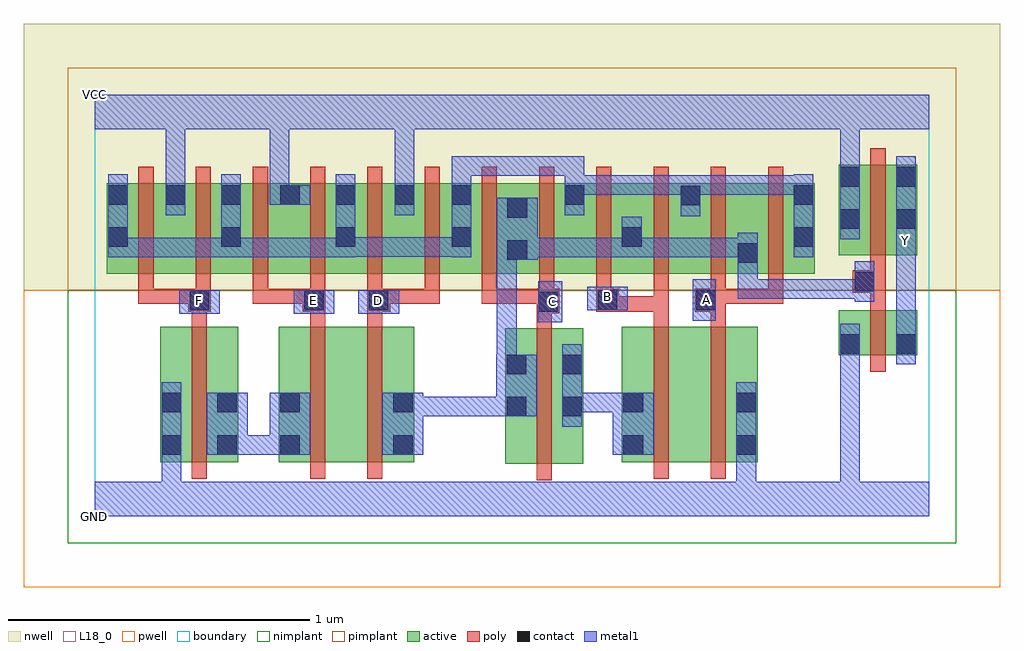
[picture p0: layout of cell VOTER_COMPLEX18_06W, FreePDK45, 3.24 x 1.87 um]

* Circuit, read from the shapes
.subckt VOTER_COMPLEX18_06W A B C D E F GND VCC Y
M1 n1 F GND VSUBS nfet w=0.45u l=0.05u
M2 n2 E n1 VSUBS nfet w=0.45u l=0.05u
M3 n3 D n2 VSUBS nfet w=0.45u l=0.05u
M4 n4 C n3 VSUBS nfet w=0.45u l=0.05u
M5 n5 B n4 VSUBS nfet w=0.45u l=0.05u
M6 GND A n5 VSUBS nfet w=0.45u l=0.05u
M7 Y n3 GND VSUBS nfet w=0.15u l=0.05u
M8 VCC F n6 n7 pfet w=0.3u l=0.05u m=2
M9 VCC E n6 n7 pfet w=0.3u l=0.05u m=2
M10 VCC D n6 n7 pfet w=0.3u l=0.05u m=2
M11 n3 C n6 n7 pfet w=0.3u l=0.05u m=2
M12 n3 B n6 n7 pfet w=0.3u l=0.05u m=2
M13 n3 A n6 n7 pfet w=0.3u l=0.05u m=2
M14 Y n3 VCC n7 pfet w=0.3u l=0.05u
.ends

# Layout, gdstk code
import gdstk
lib = gdstk.Library(unit=1e-6, precision=1e-09)
def R(c, l, rs):  # rectangles x0, y0, x1, y1
    for r in rs: c.add(gdstk.rectangle(r[:2], r[2:], *l))
def A(c, l, x, y, w, h, nx, ny, dx, dy):  # array of equal rectangles
    R(c, l, [(x+i*dx, y+j*dy, x+i*dx+w, y+j*dy+h) for i in range(nx) for j in range(ny)])
active = (1, 0)
pwell = (2, 0)
nwell = (3, 0)
nimplant = (4, 0)
pimplant = (5, 0)
poly = (9, 0)
contact = (10, 0)
metal1 = (11, 0)
L18_0 = (18, 0)
boundary = (235, 0)

voter_complex18_06w = lib.new_cell('VOTER_COMPLEX18_06W')
A(voter_complex18_06w, active, 0.23, 0.852, 0.075, 0.253, 3, 1, 0.38, 0)
R(voter_complex18_06w, active, [(1.362,0.175,1.622,0.625), (0.217,0.18,0.292,0.63), (0.217,0.18,0.477,0.63), (0.61,0.18,0.835,0.63), (0.835,0.18,1.06,0.63), (1.75,0.18,1.975,0.63), (1.975,0.18,2.2,0.63), (2.125,0.18,2.2,0.63), (0.402,0.2,0.477,0.63), (0.61,0.2,0.685,0.63), (0.985,0.2,1.06,0.63), (1.75,0.2,1.825,0.63), (1.362,0.245,1.437,0.625), (1.547,0.245,1.622,0.625), (2.47,0.535,2.545,0.685), (2.47,0.535,2.73,0.685), (2.655,0.535,2.73,0.685), (0.04,0.805,0.115,1.105), (0.04,0.805,0.305,1.105), (0.23,0.805,0.49,1.105), (0.415,0.805,0.49,1.105), (0.415,0.805,0.685,1.105), (0.61,0.805,0.87,1.105), (0.795,0.805,0.87,1.105), (0.795,0.805,1.065,1.105), (0.99,0.805,1.255,1.105), (1.18,0.805,1.44,1.105), (1.18,0.805,1.255,1.105), (1.365,0.805,1.63,1.105), (1.555,0.805,1.82,1.105), (1.745,0.805,2.015,1.105), (1.94,0.805,2.205,1.105), (2.13,0.805,2.39,1.105), (2.315,0.805,2.39,1.105), (2.13,0.837,2.205,1.07), (1.365,0.847,1.44,1.07), (1.555,0.852,1.63,1.105), (1.94,0.852,2.015,1.105), (2.47,0.867,2.73,1.167), (2.47,0.867,2.545,1.167), (2.655,0.867,2.73,1.165), (1.745,0.89,1.82,1.07)])
R(voter_complex18_06w, pwell, [(-0.235,-0.235,3.005,0.75)])
R(voter_complex18_06w, nwell, [(-0.235,0.75,3.005,1.635)])
R(voter_complex18_06w, nimplant, [(-0.09,-0.09,2.86,0.75)])
R(voter_complex18_06w, pimplant, [(-0.09,0.75,2.86,1.49)])
A(voter_complex18_06w, poly, 0.145, 0.705, 0.05, 0.095, 9, 1, 0.19, 0)
A(voter_complex18_06w, poly, 0.145, 0.75, 0.05, 0.41, 12, 1, 0.19, 0)
R(voter_complex18_06w, poly, [(1.467,0.12,1.517,0.68), (0.322,0.125,0.372,0.685), (0.715,0.125,0.765,0.685), (0.905,0.125,0.955,0.685), (1.855,0.125,1.905,0.685), (2.045,0.125,2.095,0.685), (2.575,0.48,2.625,0.74), (1.467,0.63,1.517,0.725), (0.322,0.635,0.372,0.73), (0.715,0.635,0.765,0.73), (0.905,0.635,0.955,0.73), (1.855,0.635,1.905,0.73), (2.045,0.635,2.095,0.73), (1.467,0.675,1.542,0.755), (0.31,0.68,0.385,0.755), (0.69,0.68,0.765,0.755), (0.905,0.68,0.98,0.755), (1.665,0.68,1.74,0.755), (1.69,0.68,1.74,0.73), (1.69,0.68,1.74,0.73), (1.69,0.68,1.905,0.73), (1.855,0.68,1.905,0.73), (1.855,0.68,1.905,0.8), (1.992,0.68,2.095,0.755), (2.575,0.69,2.625,0.792), (0.145,0.705,0.195,0.755), (0.145,0.705,0.195,0.755), (0.145,0.705,0.195,0.755), (0.145,0.705,0.36,0.755), (0.525,0.705,0.575,0.755), (0.525,0.705,0.575,0.755), (0.525,0.705,0.575,0.755), (0.525,0.705,0.74,0.755), (0.93,0.705,1.145,0.755), (1.095,0.705,1.145,0.755), (1.095,0.705,1.145,0.755), (1.095,0.705,1.145,0.755), (1.285,0.705,1.335,0.755), (1.285,0.705,1.335,0.755), (1.285,0.705,1.337,0.755), (1.287,0.705,1.517,0.755), (2.045,0.705,2.095,0.8), (2.045,0.705,2.285,0.755), (2.045,0.705,2.095,0.755), (2.045,0.705,2.095,0.755), (2.235,0.705,2.285,0.8), (2.235,0.705,2.285,0.755), (2.517,0.742,2.625,0.817), (2.575,0.767,2.625,0.862), (2.575,0.812,2.625,1.222)])
R(voter_complex18_06w, contact, [(0.222,0.205,0.287,0.27), (0.407,0.205,0.472,0.27), (0.615,0.205,0.68,0.27), (0.99,0.205,1.055,0.27), (1.755,0.205,1.82,0.27), (2.13,0.205,2.195,0.27), (1.367,0.332,1.432,0.397), (1.552,0.332,1.617,0.397), (0.222,0.345,0.287,0.41), (0.407,0.345,0.472,0.41), (0.615,0.345,0.68,0.41), (0.99,0.345,1.055,0.41), (1.755,0.345,1.82,0.41), (2.13,0.345,2.195,0.41), (1.367,0.472,1.432,0.537), (1.552,0.472,1.617,0.537), (2.475,0.54,2.54,0.605), (2.66,0.54,2.725,0.605), (1.472,0.68,1.537,0.745), (0.315,0.685,0.38,0.75), (0.695,0.685,0.76,0.75), (0.91,0.685,0.975,0.75), (1.67,0.685,1.735,0.75), (1.997,0.685,2.062,0.75), (2.522,0.747,2.587,0.812), (2.135,0.842,2.2,0.907), (1.37,0.852,1.435,0.917), (0.045,0.895,0.11,0.96), (0.42,0.895,0.485,0.96), (0.8,0.895,0.865,0.96), (1.185,0.895,1.25,0.96), (1.75,0.895,1.815,0.96), (2.32,0.895,2.385,0.96), (2.475,0.955,2.54,1.02), (2.66,0.955,2.725,1.02), (1.37,0.992,1.435,1.057), (1.945,1.032,2.01,1.097), (0.045,1.035,0.11,1.1), (0.235,1.035,0.3,1.1), (0.42,1.035,0.485,1.1), (0.615,1.035,0.68,1.1), (0.8,1.035,0.865,1.1), (0.995,1.035,1.06,1.1), (1.185,1.035,1.25,1.1), (1.56,1.035,1.625,1.1), (2.32,1.035,2.385,1.1), (2.475,1.095,2.54,1.16), (2.66,1.095,2.725,1.16)])
R(voter_complex18_06w, metal1, [(0,0,2.77,0.115), (0.222,0.05,0.287,0.235), (2.13,0.05,2.195,0.115), (2.13,0.05,2.195,0.115), (2.13,0.05,2.195,0.235), (2.475,0.05,2.54,0.115), (2.475,0.05,2.54,0.115), (2.475,0.05,2.54,0.115), (2.475,0.05,2.54,0.115), (2.475,0.05,2.54,0.115), (2.475,0.05,2.54,0.115), (2.475,0.05,2.54,0.57), (0.222,0.17,0.287,0.235), (0.222,0.17,0.287,0.235), (0.222,0.17,0.287,0.445), (2.13,0.17,2.195,0.445), (0.372,0.205,0.507,0.41), (0.442,0.205,0.507,0.27), (0.442,0.205,0.507,0.27), (0.442,0.205,0.645,0.27), (0.58,0.205,0.715,0.41), (0.955,0.205,1.09,0.41), (1.72,0.205,1.855,0.41), (1.552,0.297,1.617,0.572), (1.025,0.332,1.09,0.397), (1.025,0.332,1.09,0.397), (1.025,0.332,1.25,0.397), (1.185,0.332,1.25,0.397), (1.185,0.332,1.25,0.397), (1.185,0.332,1.25,0.397), (1.185,0.332,1.397,0.397), (1.332,0.332,1.467,0.537), (1.552,0.345,1.617,0.41), (1.552,0.345,1.617,0.41), (1.552,0.345,1.785,0.41), (1.335,0.472,1.4,0.537), (1.335,0.472,1.4,0.537), (1.335,0.472,1.4,0.917), (2.475,0.505,2.54,0.64), (2.66,0.505,2.725,0.64), (2.66,0.575,2.725,0.915), (1.472,0.645,1.552,0.78), (1.985,0.65,2.062,0.787), (0.28,0.672,0.415,0.75), (0.66,0.672,0.795,0.75), (0.875,0.672,1.01,0.75), (1.635,0.685,1.77,0.762), (2.522,0.712,2.587,0.847), (2.135,0.722,2.337,0.787), (2.135,0.722,2.2,0.872), (2.272,0.722,2.337,0.787), (2.272,0.722,2.587,0.787), (2.522,0.722,2.587,0.787), (2.522,0.722,2.587,0.787), (2.522,0.722,2.587,0.787), (2.522,0.722,2.587,0.787), (2.135,0.807,2.2,0.872), (2.135,0.807,2.2,0.942), (2.66,0.85,2.725,0.985), (1.335,0.852,1.47,1.057), (0.045,0.86,0.11,0.925), (0.045,0.86,0.11,0.925), (0.045,0.86,0.11,1.135), (0.045,0.86,0.3,0.925), (0.235,0.86,0.3,0.925), (0.235,0.86,0.3,0.925), (0.235,0.86,0.3,0.925), (0.235,0.86,0.485,0.925), (0.42,0.86,0.485,0.925), (0.42,0.86,0.485,0.925), (0.42,0.86,0.485,1.135), (0.42,0.86,0.727,0.925), (0.662,0.86,0.727,0.925), (0.662,0.86,0.727,0.925), (0.662,0.86,0.727,0.925), (0.662,0.86,0.865,0.925), (0.8,0.86,0.865,1.135), (1.185,0.86,1.25,1.135), (1.405,0.86,1.47,0.925), (1.405,0.86,1.47,0.925), (1.405,0.86,1.607,0.925), (1.542,0.86,1.607,0.925), (1.542,0.86,1.607,0.925), (1.542,0.86,1.607,0.925), (1.542,0.86,1.815,0.925), (1.75,0.86,1.815,0.925), (1.75,0.86,1.815,0.925), (1.75,0.86,1.815,0.995), (1.75,0.86,2.057,0.925), (1.992,0.86,2.057,0.925), (1.992,0.86,2.057,0.925), (1.992,0.86,2.057,0.925), (1.992,0.86,2.2,0.925), (2.32,0.86,2.385,1.135), (0.8,0.862,0.865,0.927), (0.8,0.862,0.865,0.927), (0.8,0.862,1.112,0.927), (1.047,0.862,1.112,0.927), (1.047,0.862,1.112,0.927), (1.047,0.862,1.112,0.927), (1.047,0.862,1.25,0.927), (2.475,0.92,2.54,1.195), (2.66,0.92,2.725,0.985), (2.66,0.92,2.725,1.195), (1.945,0.997,2.01,1.132), (0.235,1,0.3,1.135), (0.995,1,1.06,1.135), (1.56,1,1.625,1.195), (0.58,1.035,0.645,1.1), (0.58,1.035,0.645,1.1), (0.58,1.035,0.645,1.35), (0.58,1.035,0.715,1.1), (1.56,1.067,1.625,1.132), (1.56,1.067,1.625,1.132), (1.56,1.067,1.872,1.132), (1.807,1.067,1.872,1.132), (1.807,1.067,1.872,1.132), (1.807,1.067,1.872,1.132), (1.807,1.067,2.01,1.132), (1.945,1.067,2.01,1.132), (1.945,1.067,2.01,1.132), (1.945,1.067,2.195,1.132), (2.13,1.067,2.195,1.132), (2.13,1.067,2.385,1.132), (2.32,1.067,2.385,1.132), (2.32,1.067,2.385,1.132), (0.235,1.07,0.3,1.35), (0.995,1.07,1.06,1.135), (0.995,1.07,1.06,1.135), (0.995,1.07,1.06,1.35), (1.185,1.07,1.25,1.195), (1.185,1.13,1.25,1.195), (1.185,1.13,1.25,1.195), (1.185,1.13,1.25,1.195), (1.185,1.13,1.427,1.195), (1.362,1.13,1.427,1.195), (1.362,1.13,1.427,1.195), (1.362,1.13,1.427,1.195), (1.362,1.13,1.625,1.195), (2.475,1.13,2.54,1.195), (2.475,1.13,2.54,1.195), (2.475,1.13,2.54,1.35), (0,1.285,2.77,1.4), (0.235,1.285,0.3,1.35), (0.235,1.285,0.3,1.35)])
R(voter_complex18_06w, L18_0, [(0,0,2.77,0.115), (0.222,0.05,0.287,0.235), (2.13,0.05,2.195,0.115), (2.13,0.05,2.195,0.115), (2.13,0.05,2.195,0.235), (2.475,0.05,2.54,0.115), (2.475,0.05,2.54,0.115), (2.475,0.05,2.54,0.115), (2.475,0.05,2.54,0.115), (2.475,0.05,2.54,0.115), (2.475,0.05,2.54,0.115), (2.475,0.05,2.54,0.57), (0.222,0.17,0.287,0.235), (0.222,0.17,0.287,0.235), (0.222,0.17,0.287,0.445), (2.13,0.17,2.195,0.445), (2.475,0.505,2.54,0.64), (2.66,0.505,2.725,0.64), (2.66,0.575,2.725,0.915), (1.472,0.645,1.552,0.78), (1.985,0.65,2.062,0.787), (0.28,0.672,0.415,0.75), (0.66,0.672,0.795,0.75), (0.875,0.672,1.01,0.75), (1.487,0.68,1.552,0.745), (0.315,0.685,0.38,0.75), (0.695,0.685,0.76,0.75), (0.91,0.685,0.975,0.75), (1.635,0.685,1.77,0.762), (1.997,0.687,2.062,0.752), (1.67,0.697,1.735,0.762), (2.66,0.85,2.725,0.985), (2.66,0.885,2.725,0.95), (2.475,0.92,2.54,1.195), (2.66,0.92,2.725,0.985), (2.66,0.92,2.725,1.195), (0.235,1,0.3,1.135), (0.995,1,1.06,1.135), (0.58,1.035,0.645,1.1), (0.58,1.035,0.645,1.1), (0.58,1.035,0.715,1.1), (0.58,1.035,0.645,1.35), (0.235,1.07,0.3,1.35), (0.995,1.07,1.06,1.135), (0.995,1.07,1.06,1.135), (0.995,1.07,1.06,1.35), (2.475,1.13,2.54,1.195), (2.475,1.13,2.54,1.195), (2.475,1.13,2.54,1.35), (0,1.285,2.77,1.4), (0.235,1.285,0.3,1.35), (0.235,1.285,0.3,1.35)])
R(voter_complex18_06w, boundary, [(0,0,2.77,1.4)])
voter_complex18_06w.add(gdstk.Label('A', (2.03,0.72), layer=11, texttype=0))
voter_complex18_06w.add(gdstk.Label('B', (1.702,0.73), layer=11, texttype=0))
voter_complex18_06w.add(gdstk.Label('C', (1.52,0.712), layer=11, texttype=0))
voter_complex18_06w.add(gdstk.Label('D', (0.942,0.717), layer=11, texttype=0))
voter_complex18_06w.add(gdstk.Label('E', (0.727,0.717), layer=11, texttype=0))
voter_complex18_06w.add(gdstk.Label('F', (0.347,0.717), layer=11, texttype=0))
voter_complex18_06w.add(gdstk.Label('Y', (2.692,0.917), layer=11, texttype=0))
voter_complex18_06w.add(gdstk.Label('VCC', (0,1.4), layer=11, texttype=0))
voter_complex18_06w.add(gdstk.Label('GND', (0,0), layer=11, texttype=0))

lib.write_gds('VOTER_COMPLEX18_06W.gds')
